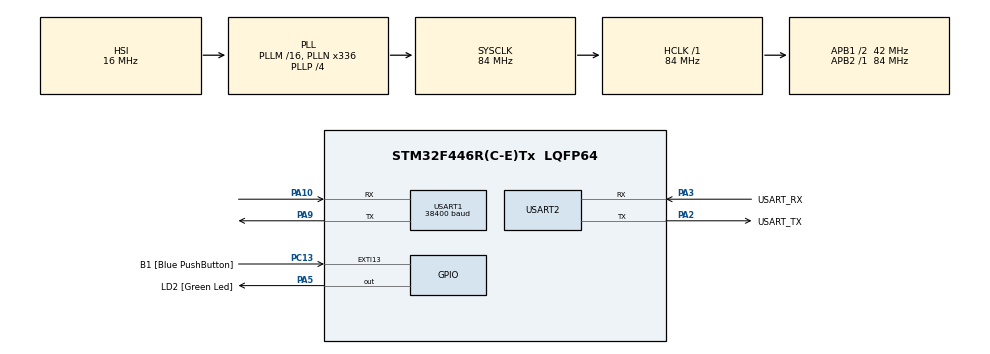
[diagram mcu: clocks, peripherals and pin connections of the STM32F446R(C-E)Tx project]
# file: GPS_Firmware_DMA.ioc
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Dma.Request0=USART1_RX
Dma.USART1_RX.0.Direction=DMA_PERIPH_TO_MEMORY
Dma.USART1_RX.0.FIFOMode=DMA_FIFOMODE_DISABLE
Dma.USART1_RX.0.Instance=DMA2_Stream2
Dma.USART1_RX.0.MemDataAlignment=DMA_MDATAALIGN_BYTE
Dma.USART1_RX.0.MemInc=DMA_MINC_ENABLE
Dma.USART1_RX.0.Mode=DMA_NORMAL
Dma.USART1_RX.0.PeriphDataAlignment=DMA_PDATAALIGN_BYTE
Dma.USART1_RX.0.PeriphInc=DMA_PINC_DISABLE
Dma.USART1_RX.0.Priority=DMA_PRIORITY_LOW
Mcu.Family=STM32F4
Mcu.Name=STM32F446R(C-E)Tx
Mcu.Package=LQFP64
NVIC.DMA2_Stream2_IRQn=true\:0\:0\:false\:false\:true\:false\:true\:true
NVIC.PriorityGroup=NVIC_PRIORITYGROUP_0
NVIC.USART1_IRQn=true\:0\:0\:false\:false\:true\:true\:true\:true
PA10.Mode=Asynchronous
PA10.Signal=USART1_RX
PA13.GPIO_Label=TMS
PA13.Mode=Serial_Wire
PA13.Signal=SYS_JTMS-SWDIO
PA14.GPIO_Label=TCK
PA14.Mode=Serial_Wire
PA14.Signal=SYS_JTCK-SWCLK
PA2.GPIO_Label=USART_TX
PA2.Mode=Asynchronous
PA2.Signal=USART2_TX
PA3.GPIO_Label=USART_RX
PA3.Mode=Asynchronous
PA3.Signal=USART2_RX
PA5.GPIO_Label=LD2 [Green Led]
PA5.Signal=GPIO_Output
PA9.Mode=Asynchronous
PA9.Signal=USART1_TX
PB3.GPIO_Label=SWO
PB3.Signal=SYS_JTDO-SWO
PC13.GPIO_Label=B1 [Blue PushButton]
PC13.GPIO_ModeDefaultEXTI=GPIO_MODE_IT_FALLING
PC13.Signal=GPXTI13
PC14-OSC32_IN.Mode=LSE-External-Oscillator
PC14-OSC32_IN.Signal=RCC_OSC32_IN
PC15-OSC32_OUT.Mode=LSE-External-Oscillator
PC15-OSC32_OUT.Signal=RCC_OSC32_OUT
PH0-OSC_IN.Mode=HSE-External-Oscillator
PH0-OSC_IN.Signal=RCC_OSC_IN
PH1-OSC_OUT.Mode=HSE-External-Oscillator
PH1-OSC_OUT.Signal=RCC_OSC_OUT
ProjectManager.HeapSize=0x200
ProjectManager.StackSize=0x400
ProjectManager.TargetToolchain=STM32CubeIDE
RCC.48MHZClocksFreq_Value=84000000
RCC.AHBFreq_Value=84000000
RCC.APB1CLKDivider=RCC_HCLK_DIV2
RCC.APB1Freq_Value=42000000
RCC.APB1TimFreq_Value=84000000
RCC.APB2Freq_Value=84000000
RCC.APB2TimFreq_Value=84000000
RCC.CortexFreq_Value=84000000
RCC.FLatency-AdvancedSettings=FLASH_LATENCY_2
RCC.HCLKFreq_Value=84000000
RCC.HSE_VALUE=8000000
RCC.HSI_VALUE=16000000
RCC.PLLN=336
RCC.PLLP=RCC_PLLP_DIV4
RCC.SYSCLKFreq_VALUE=84000000
RCC.SYSCLKSource=RCC_SYSCLKSOURCE_PLLCLK
RCC.USBFreq_Value=168000000
RCC.VCOOutputFreq_Value=336000000
USART1.BaudRate=38400
USART1.VirtualMode=VM_ASYNC
USART2.VirtualMode=VM_ASYNC
board=NUCLEO-F446RE

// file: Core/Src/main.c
/* USER CODE BEGIN Header */
/**
  ******************************************************************************
  * @file           : main.c
  * @brief          : Main program body
  ******************************************************************************
  * @attention
  *
  * Copyright (c) 2024 STMicroelectronics.
  * All rights reserved.
  *
  * This software is licensed under terms that can be found in the LICENSE file
  * in the root directory of this software component.
  * If no LICENSE file comes with this software, it is provided AS-IS.
  *
  ******************************************************************************
  */
/* USER CODE END Header */
#include "main.h"

/* USER CODE BEGIN Includes */
#include <string.h>
#include "ZED_F9P.h"
#include "debug.h"
/* USER CODE END Includes */

UART_HandleTypeDef huart1;
UART_HandleTypeDef huart2;
DMA_HandleTypeDef hdma_usart1_rx;

/* USER CODE BEGIN PV */
ZedF9P gps = {0};

/* USER CODE END PV */

void SystemClock_Config(void);
static void MX_GPIO_Init(void);
static void MX_DMA_Init(void);
static void MX_USART2_UART_Init(void);
static void MX_USART1_UART_Init(void);

/* USER CODE BEGIN 0 */
#define GPS_RX_BUF_SIZE 	  256

uint8_t g_uart1RxBuf[GPS_RX_BUF_SIZE];

// callback is triggered upon buffer size reached or idle event (no data for a period)
void HAL_UARTEx_RxEventCallback(UART_HandleTypeDef *huart, uint16_t size) {
  if (huart->Instance == USART1) {
    // memcpy(g_gpsMainBuf, g_rxBuf, Size);
    F9P_parse_ubx_message(&gps, g_uart1RxBuf, size);
    // DEBUG_LOG("%s\n", g_uart1RxBuf);
  }

  // Re-set DMA interrupt
  HAL_UARTEx_ReceiveToIdle_DMA(&huart1, g_uart1RxBuf, GPS_RX_BUF_SIZE);
}

/* USER CODE END 0 */

int main(void)
{

  /* USER CODE BEGIN 1 */
  DEBUG_LOG("Initialize Code...!\n");

  /* USER CODE END 1 */

  /* MCU Configuration--------------------------------------------------------*/

  /* Reset of all peripherals, Initializes the Flash interface and the Systick. */
  HAL_Init();

  /* Configure the system clock */
  SystemClock_Config();

  /* Initialize all configured peripherals */
  MX_GPIO_Init();
  MX_DMA_Init();
  MX_USART2_UART_Init();
  MX_USART1_UART_Init();
  /* USER CODE BEGIN 2 */

  // Set DMA interrupt
  HAL_UARTEx_ReceiveToIdle_DMA(&huart1, g_uart1RxBuf, GPS_RX_BUF_SIZE);
  // Disable interrupt when half the data is transferred
  __HAL_DMA_DISABLE_IT(&hdma_usart1_rx, DMA_IT_HT);

  // TODO: F9P Config Init
  F9P_apply_init_config(&huart1);

  /* USER CODE END 2 */

  /* Infinite loop */
  while (1)
  {

    /* USER CODE BEGIN 3 */
    HAL_Delay(500);

    DEBUG_LOG("Longitude: %.2f \r\n", (float)gps.lon * 1e-7);
    DEBUG_LOG("Latitude: %.2f \r\n", (float)gps.lat * 1e-7);
    DEBUG_LOG("velN: %d \r\n", gps.velN);
    DEBUG_LOG("velE: %d \r\n", gps.velE);
    DEBUG_LOG("velD: %d \r\n", gps.velD);
    DEBUG_LOG("hMSL: %d \r\n", gps.hMSL);
  }
  /* USER CODE END 3 */
}

void SystemClock_Config(void)
{
  RCC_OscInitTypeDef RCC_OscInitStruct = {0};
  RCC_ClkInitTypeDef RCC_ClkInitStruct = {0};

  /** Configure the main internal regulator output voltage
  */
  __HAL_RCC_PWR_CLK_ENABLE();
  __HAL_PWR_VOLTAGESCALING_CONFIG(PWR_REGULATOR_VOLTAGE_SCALE3);

  /** Initializes the RCC Oscillators according to the specified parameters
  * in the RCC_OscInitTypeDef structure.
  */
  RCC_OscInitStruct.OscillatorType = RCC_OSCILLATORTYPE_HSI;
  RCC_OscInitStruct.HSIState = RCC_HSI_ON;
  RCC_OscInitStruct.HSICalibrationValue = RCC_HSICALIBRATION_DEFAULT;
  RCC_OscInitStruct.PLL.PLLState = RCC_PLL_ON;
  RCC_OscInitStruct.PLL.PLLSource = RCC_PLLSOURCE_HSI;
  RCC_OscInitStruct.PLL.PLLM = 16;
  RCC_OscInitStruct.PLL.PLLN = 336;
  RCC_OscInitStruct.PLL.PLLP = RCC_PLLP_DIV4;
  RCC_OscInitStruct.PLL.PLLQ = 2;
  RCC_OscInitStruct.PLL.PLLR = 2;
  if (HAL_RCC_OscConfig(&RCC_OscInitStruct) != HAL_OK)
  {
    Error_Handler();
  }

  /** Initializes the CPU, AHB and APB buses clocks
  */
  RCC_ClkInitStruct.ClockType = RCC_CLOCKTYPE_HCLK|RCC_CLOCKTYPE_SYSCLK
                              |RCC_CLOCKTYPE_PCLK1|RCC_CLOCKTYPE_PCLK2;
  RCC_ClkInitStruct.SYSCLKSource = RCC_SYSCLKSOURCE_PLLCLK;
  RCC_ClkInitStruct.AHBCLKDivider = RCC_SYSCLK_DIV1;
  RCC_ClkInitStruct.APB1CLKDivider = RCC_HCLK_DIV2;
  RCC_ClkInitStruct.APB2CLKDivider = RCC_HCLK_DIV1;

  if (HAL_RCC_ClockConfig(&RCC_ClkInitStruct, FLASH_LATENCY_2) != HAL_OK)
  {
    Error_Handler();
  }
}

static void MX_USART1_UART_Init(void)
{

  huart1.Instance = USART1;
  huart1.Init.BaudRate = 38400;
  huart1.Init.WordLength = UART_WORDLENGTH_8B;
  huart1.Init.StopBits = UART_STOPBITS_1;
  huart1.Init.Parity = UART_PARITY_NONE;
  huart1.Init.Mode = UART_MODE_TX_RX;
  huart1.Init.HwFlowCtl = UART_HWCONTROL_NONE;
  huart1.Init.OverSampling = UART_OVERSAMPLING_16;
  if (HAL_UART_Init(&huart1) != HAL_OK)
  {
    Error_Handler();
  }

}

static void MX_USART2_UART_Init(void)
{

  huart2.Instance = USART2;
  huart2.Init.BaudRate = 115200;
  huart2.Init.WordLength = UART_WORDLENGTH_8B;
  huart2.Init.StopBits = UART_STOPBITS_1;
  huart2.Init.Parity = UART_PARITY_NONE;
  huart2.Init.Mode = UART_MODE_TX_RX;
  huart2.Init.HwFlowCtl = UART_HWCONTROL_NONE;
  huart2.Init.OverSampling = UART_OVERSAMPLING_16;
  if (HAL_UART_Init(&huart2) != HAL_OK)
  {
    Error_Handler();
  }

}

static void MX_DMA_Init(void)
{

  /* DMA controller clock enable */
  __HAL_RCC_DMA2_CLK_ENABLE();

  /* DMA interrupt init */
  /* DMA2_Stream2_IRQn interrupt configuration */
  HAL_NVIC_SetPriority(DMA2_Stream2_IRQn, 0, 0);
  HAL_NVIC_EnableIRQ(DMA2_Stream2_IRQn);

}

static void MX_GPIO_Init(void)
{
  GPIO_InitTypeDef GPIO_InitStruct = {0};

  /* GPIO Ports Clock Enable */
  __HAL_RCC_GPIOC_CLK_ENABLE();
  __HAL_RCC_GPIOH_CLK_ENABLE();
  __HAL_RCC_GPIOA_CLK_ENABLE();
  __HAL_RCC_GPIOB_CLK_ENABLE();

  /*Configure GPIO pin Output Level */
  HAL_GPIO_WritePin(LD2_GPIO_Port, LD2_Pin, GPIO_PIN_RESET);

  /*Configure GPIO pin : B1_Pin */
  GPIO_InitStruct.Pin = B1_Pin;
  GPIO_InitStruct.Mode = GPIO_MODE_IT_FALLING;
  GPIO_InitStruct.Pull = GPIO_NOPULL;
  HAL_GPIO_Init(B1_GPIO_Port, &GPIO_InitStruct);

  /*Configure GPIO pin : LD2_Pin */
  GPIO_InitStruct.Pin = LD2_Pin;
  GPIO_InitStruct.Mode = GPIO_MODE_OUTPUT_PP;
  GPIO_InitStruct.Pull = GPIO_NOPULL;
  GPIO_InitStruct.Speed = GPIO_SPEED_FREQ_LOW;
  HAL_GPIO_Init(LD2_GPIO_Port, &GPIO_InitStruct);

}

void Error_Handler(void)
{
  __disable_irq();
  while (1)
  {
  }
}
